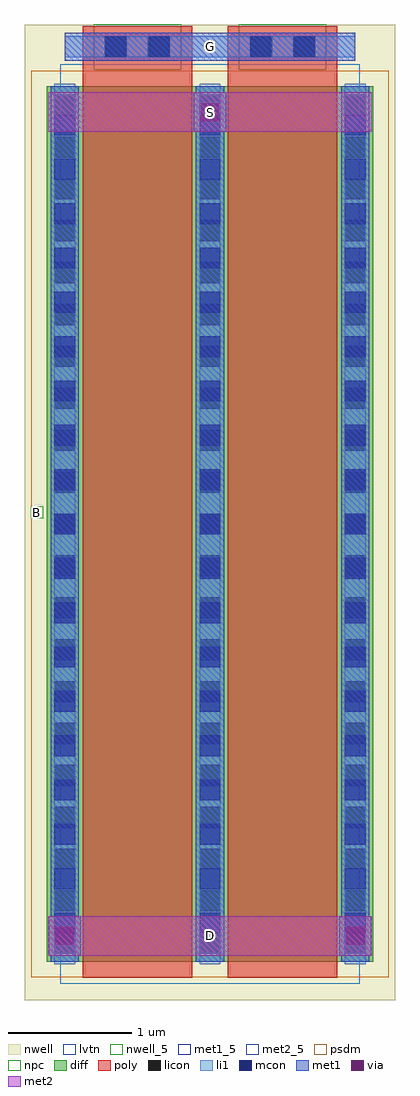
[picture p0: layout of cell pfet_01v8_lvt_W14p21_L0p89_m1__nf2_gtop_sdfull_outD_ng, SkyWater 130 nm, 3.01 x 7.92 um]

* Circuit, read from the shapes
.subckt pfet_01v8_lvt_W14p21_L0p89_m1__nf2_gtop_sdfull_outD_ng B D G S
XM1 S G D B sky130_fd_pr__pfet_01v8_lvt w=7.11 l=0.89 m=2
.ends

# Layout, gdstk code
import gdstk
lib = gdstk.Library(unit=1e-6, precision=1e-09)
def R(c, l, rs):  # rectangles x0, y0, x1, y1
    for r in rs: c.add(gdstk.rectangle(r[:2], r[2:], *l))
def A(c, l, x, y, w, h, nx, ny, dx, dy):  # array of equal rectangles
    R(c, l, [(x+i*dx, y+j*dy, x+i*dx+w, y+j*dy+h) for i in range(nx) for j in range(ny)])
nwell_5 = (64, 5)
nwell = (64, 20)
diff = (65, 20)
poly = (66, 20)
licon = (66, 44)
li1 = (67, 20)
mcon = (67, 44)
met1_5 = (68, 5)
met1 = (68, 20)
via = (68, 44)
met2_5 = (69, 5)
met2 = (69, 20)
psdm = (94, 20)
npc = (95, 20)
lvtn = (125, 44)

sky130_fd_pr__pfet_01v8_ = lib.new_cell('sky130_fd_pr__pfet_01v8_lvt_GELWXN')
R(sky130_fd_pr__pfet_01v8_, nwell, [(-1.505,-4.045,1.505,3.875)])
R(sky130_fd_pr__pfet_01v8_, diff, [(-1.325,-3.735,1.325,3.375)])
R(sky130_fd_pr__pfet_01v8_, poly, [(-1.035,-3.865,-0.145,3.86), (0.145,-3.865,1.035,3.86)])
A(sky130_fd_pr__pfet_01v8_, licon, -1.265, -3.665, 0.17, 0.17, 3, 21, 1.18, 0.34)
R(sky130_fd_pr__pfet_01v8_, licon, [(-0.845,3.61,-0.675,3.78), (-0.505,3.61,-0.335,3.78), (0.335,3.61,0.505,3.78), (0.675,3.61,0.845,3.78)])
A(sky130_fd_pr__pfet_01v8_, li1, -1.265, -3.755, 0.17, 7.15, 3, 1, 1.18, 0)
R(sky130_fd_pr__pfet_01v8_, li1, [(-1.18,3.61,1.18,3.78)])
A(sky130_fd_pr__pfet_01v8_, mcon, -1.265, -3.505, 0.17, 0.17, 3, 19, 1.18, 0.36)
R(sky130_fd_pr__pfet_01v8_, mcon, [(-0.855,3.61,-0.685,3.78), (-0.495,3.61,-0.325,3.78), (0.325,3.61,0.495,3.78), (0.685,3.61,0.855,3.78)])
A(sky130_fd_pr__pfet_01v8_, met1, -1.295, -3.735, 0.23, 7.11, 3, 1, 1.18, 0)
R(sky130_fd_pr__pfet_01v8_, met1, [(-1.015,3.58,-0.165,3.61), (0.165,3.58,1.015,3.61), (-1.18,3.61,1.18,3.78), (-1.015,3.78,-0.165,3.81), (0.165,3.78,1.015,3.81)])
R(sky130_fd_pr__pfet_01v8_, psdm, [(-1.45,-3.86,1.45,3.5)])
R(sky130_fd_pr__pfet_01v8_, npc, [(-0.945,3.51,-0.235,3.88), (0.235,3.51,0.945,3.88)])
R(sky130_fd_pr__pfet_01v8_, lvtn, [(-1.215,-3.915,1.215,3.555)])
sky130_fd_pr__pfet_01v8_.add(gdstk.Label('D0', (-1.18,-0.18), layer=67, texttype=5))
sky130_fd_pr__pfet_01v8_.add(gdstk.Label('G', (0.59,3.695), layer=67, texttype=5))
sky130_fd_pr__pfet_01v8_.add(gdstk.Label('G', (-0.59,3.695), layer=67, texttype=5))
sky130_fd_pr__pfet_01v8_.add(gdstk.Label('S1', (0,-0.18), layer=67, texttype=5))

pfet_01v8_lvt_w14p21_l0p = lib.new_cell('pfet_01v8_lvt_W14p21_L0p89_m1__nf2_gtop_sdfull_outD_ng')
R(pfet_01v8_lvt_w14p21_l0p, nwell_5, [(0.05,3.91,0.15,4.01)])
R(pfet_01v8_lvt_w14p21_l0p, nwell, [(0.05,3.91,0.15,4.01)])
R(pfet_01v8_lvt_w14p21_l0p, met1_5, [(0.325,7.625,2.685,7.855)])
R(pfet_01v8_lvt_w14p21_l0p, met1, [(0.195,0.36,0.455,0.68), (2.555,0.36,2.815,0.68), (1.375,7.05,1.635,7.37), (0.325,7.625,2.685,7.855)])
R(pfet_01v8_lvt_w14p21_l0p, via, [(0.25,0.445,0.4,0.595), (2.61,0.445,2.76,0.595), (1.43,7.135,1.58,7.285)])
R(pfet_01v8_lvt_w14p21_l0p, met2_5, [(0.19,0.36,2.82,0.68), (0.19,7.05,2.82,7.37)])
R(pfet_01v8_lvt_w14p21_l0p, met2, [(0.19,0.36,2.82,0.68), (0.19,7.05,2.82,7.37)])
pfet_01v8_lvt_w14p21_l0p.add(gdstk.Reference(sky130_fd_pr__pfet_01v8_, (1.505,4.045)))
pfet_01v8_lvt_w14p21_l0p.add(gdstk.Label('S', (1.505,7.21), layer=69, texttype=5))
pfet_01v8_lvt_w14p21_l0p.add(gdstk.Label('D', (1.505,0.52), layer=69, texttype=5))
pfet_01v8_lvt_w14p21_l0p.add(gdstk.Label('G', (1.505,7.74), layer=68, texttype=5))
pfet_01v8_lvt_w14p21_l0p.add(gdstk.Label('B', (0.1,3.96), layer=64, texttype=5))

lib.write_gds('pfet_01v8_lvt_W14p21_L0p89_m1__nf2_gtop_sdfull_outD_ng.gds')
